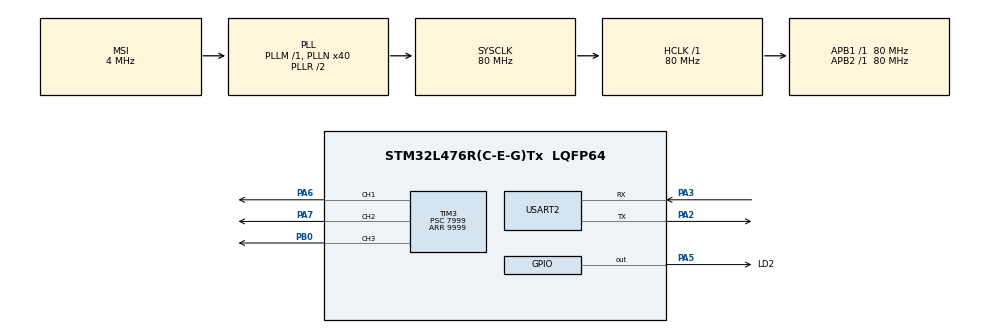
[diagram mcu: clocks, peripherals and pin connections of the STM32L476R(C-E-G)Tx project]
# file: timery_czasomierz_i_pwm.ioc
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Mcu.Family=STM32L4
Mcu.Name=STM32L476R(C-E-G)Tx
Mcu.Package=LQFP64
NVIC.PriorityGroup=NVIC_PRIORITYGROUP_4
NVIC.TIM3_IRQn=true\:0\:0\:false\:false\:true\:true\:true\:true
PA13\ (JTMS-SWDIO).Mode=Serial_Wire
PA13\ (JTMS-SWDIO).Signal=SYS_JTMS-SWDIO
PA14\ (JTCK-SWCLK).Mode=Serial_Wire
PA14\ (JTCK-SWCLK).Signal=SYS_JTCK-SWCLK
PA2.Mode=Asynchronous
PA2.Signal=USART2_TX
PA3.Mode=Asynchronous
PA3.Signal=USART2_RX
PA5.GPIO_Label=LD2
PA5.Signal=GPIO_Output
PA6.Signal=S_TIM3_CH1
PA7.Signal=S_TIM3_CH2
PB0.Signal=S_TIM3_CH3
PB10.Signal=S_TIM2_CH3
ProjectManager.HeapSize=0x200
ProjectManager.StackSize=0x400
ProjectManager.TargetToolchain=STM32CubeIDE
RCC.AHBFreq_Value=80000000
RCC.APB1Freq_Value=80000000
RCC.APB1TimFreq_Value=80000000
RCC.APB2Freq_Value=80000000
RCC.APB2TimFreq_Value=80000000
RCC.CortexFreq_Value=80000000
RCC.HCLKFreq_Value=80000000
RCC.HSE_VALUE=8000000
RCC.HSI_VALUE=16000000
RCC.LSE_VALUE=32768
RCC.MSI_VALUE=4000000
RCC.PLLN=40
RCC.SYSCLKFreq_VALUE=80000000
RCC.SYSCLKSource=RCC_SYSCLKSOURCE_PLLCLK
RCC.VCOOutputFreq_Value=160000000
SH.S_TIM2_CH3.0=TIM2_CH3
SH.S_TIM3_CH1.0=TIM3_CH1,PWM Generation1 CH1
SH.S_TIM3_CH2.0=TIM3_CH2,PWM Generation2 CH2
SH.S_TIM3_CH3.0=TIM3_CH3,PWM Generation3 CH3
TIM3.Channel-PWM\ Generation1\ CH1=TIM_CHANNEL_1
TIM3.Channel-PWM\ Generation2\ CH2=TIM_CHANNEL_2
TIM3.Channel-PWM\ Generation3\ CH3=TIM_CHANNEL_3
TIM3.OCPolarity_1=TIM_OCPOLARITY_LOW
TIM3.OCPolarity_2=TIM_OCPOLARITY_LOW
TIM3.OCPolarity_3=TIM_OCPOLARITY_LOW
TIM3.Period=9999
TIM3.Prescaler=7999
TIM3.Pulse-PWM\ Generation1\ CH1=50
TIM3.Pulse-PWM\ Generation2\ CH2=400
TIM3.Pulse-PWM\ Generation3\ CH3=2000
USART2.VirtualMode-Asynchronous=VM_ASYNC
VP_TIM3_VS_ClockSourceINT.Mode=Internal
board=custom

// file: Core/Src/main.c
/* USER CODE BEGIN Header */
/**
  ******************************************************************************
  * @file           : main.c
  * @brief          : Main program body
  ******************************************************************************
  * @attention
  *
  * Copyright (c) 2024 STMicroelectronics.
  * All rights reserved.
  *
  * This software is licensed under terms that can be found in the LICENSE file
  * in the root directory of this software component.
  * If no LICENSE file comes with this software, it is provided AS-IS.
  *
  ******************************************************************************
  */
/* USER CODE END Header */
#include "main.h"

/* USER CODE BEGIN Includes */

#include "math.h"

/* USER CODE END Includes */

TIM_HandleTypeDef htim3;

UART_HandleTypeDef huart2;

void SystemClock_Config(void);
static void MX_GPIO_Init(void);
static void MX_USART2_UART_Init(void);
static void MX_TIM3_Init(void);

/* USER CODE BEGIN 0 */
void HAL_TIM_PeriodElapsedCallback(TIM_HandleTypeDef *htim)
{
  //ustawienia dla TIM6
	/*
  if (htim == &htim6) {
    HAL_GPIO_TogglePin(LD2_GPIO_Port, LD2_Pin);
  }
  */
	//TIM3
	  if (htim == &htim3) {
	    HAL_GPIO_TogglePin(LD2_GPIO_Port, LD2_Pin);

	    //HAL_GPIO_WritePin(LED1_GPIO_Port, LED1_Pin, GPIO_PIN_SET);
	    //HAL_GPIO_WritePin(LED2_GPIO_Port, LED2_Pin, GPIO_PIN_SET);
	    //HAL_GPIO_WritePin(LED3_GPIO_Port, LED3_Pin, GPIO_PIN_SET);
	  }
}
// TIM3, funkcja resetująca stan diody na podstawie informacji z kanałów licznika
/*
void HAL_TIM_OC_DelayElapsedCallback(TIM_HandleTypeDef *htim)
{
  if (htim == &htim3) {
    switch (HAL_TIM_GetActiveChannel(&htim3)) {
    case HAL_TIM_ACTIVE_CHANNEL_1:
      HAL_GPIO_WritePin(LED1_GPIO_Port, LED1_Pin, GPIO_PIN_RESET);
      break;
    case HAL_TIM_ACTIVE_CHANNEL_2:
      HAL_GPIO_WritePin(LED2_GPIO_Port, LED2_Pin, GPIO_PIN_RESET);
      break;
    case HAL_TIM_ACTIVE_CHANNEL_3:
      HAL_GPIO_WritePin(LED3_GPIO_Port, LED3_Pin, GPIO_PIN_RESET);
      break;
    default:
      break;
    }
  }
}
*/
// oczekiwana jasnośc świecenia diody RGB - funkcja logistyczna
float calc_pwm(float val)
{
    const float k = 0.13f;
    const float x0 = 70.0f;
    return 10000.0f / (1.0f + exp(-k * (val - x0)));
}

/* USER CODE END 0 */

int main(void)
{

  /* MCU Configuration--------------------------------------------------------*/

  /* Reset of all peripherals, Initializes the Flash interface and the Systick. */
  HAL_Init();

  /* Configure the system clock */
  SystemClock_Config();

  /* Initialize all configured peripherals */
  MX_GPIO_Init();
  MX_USART2_UART_Init();
  MX_TIM3_Init();
  /* USER CODE BEGIN 2 */

  //Konfiguracja TIM6 to: preskaler 7999, period 9999 daje to okres T=praeskaler*period/f(80MHz procesora) = 1 sekunda
  // nie można ustawić preskalera od razu na 80 tyś bo TIM6 jest 16 bitowy
  //HAL_TIM_Base_Start_IT(&htim6);

  //TIM3 - takie same ustawienia co wyżej, podstawowa wersja działa jak TIM6
  HAL_TIM_Base_Start_IT(&htim3);
  //dodanie 3 kanałów, period 2500, 5000, 7500
  //udało się uzyskać sygnał PWM: LED1 świeci przez 25% czasu, LED2 przez 50%, a LED3 przez 75%
  /*
   * HAL_TIM_OC_Start_IT(&htim3, TIM_CHANNEL_1);
  HAL_TIM_OC_Start_IT(&htim3, TIM_CHANNEL_2);
  HAL_TIM_OC_Start_IT(&htim3, TIM_CHANNEL_3);
  */
  //przerwania pwm nie będą juz zgłaszane, wykorzystujemy sprzętowy pwm, czyli procesor nie musi obsługiwać aż tylu przerwań jednocześnie
  HAL_TIM_PWM_Start(&htim3, TIM_CHANNEL_1);
  HAL_TIM_PWM_Start(&htim3, TIM_CHANNEL_2);
  HAL_TIM_PWM_Start(&htim3, TIM_CHANNEL_3);

  /* USER CODE END 2 */

  /* Infinite loop */
  /* USER CODE BEGIN WHILE */
  int counter = 0;
  while (1)
  {
	  float r = 50 * (1.0f + sin(counter / 100.0f));
	  float g = 50 * (1.0f + sin(1.5f * counter / 100.0f));
	  float b = 50 * (1.0f + sin(2.0f * counter / 100.0f));
	  __HAL_TIM_SET_COMPARE(&htim3, TIM_CHANNEL_1, calc_pwm(b));
	  __HAL_TIM_SET_COMPARE(&htim3, TIM_CHANNEL_2, calc_pwm(g));
	  __HAL_TIM_SET_COMPARE(&htim3, TIM_CHANNEL_3, calc_pwm(r));

	  HAL_Delay(10);
	  counter++;
    /* USER CODE END WHILE */

  }
}

void SystemClock_Config(void)
{
  RCC_OscInitTypeDef RCC_OscInitStruct = {0};
  RCC_ClkInitTypeDef RCC_ClkInitStruct = {0};

  /** Configure the main internal regulator output voltage
  */
  if (HAL_PWREx_ControlVoltageScaling(PWR_REGULATOR_VOLTAGE_SCALE1) != HAL_OK)
  {
    Error_Handler();
  }

  /** Initializes the RCC Oscillators according to the specified parameters
  * in the RCC_OscInitTypeDef structure.
  */
  RCC_OscInitStruct.OscillatorType = RCC_OSCILLATORTYPE_MSI;
  RCC_OscInitStruct.MSIState = RCC_MSI_ON;
  RCC_OscInitStruct.MSICalibrationValue = 0;
  RCC_OscInitStruct.MSIClockRange = RCC_MSIRANGE_6;
  RCC_OscInitStruct.PLL.PLLState = RCC_PLL_ON;
  RCC_OscInitStruct.PLL.PLLSource = RCC_PLLSOURCE_MSI;
  RCC_OscInitStruct.PLL.PLLM = 1;
  RCC_OscInitStruct.PLL.PLLN = 40;
  RCC_OscInitStruct.PLL.PLLP = RCC_PLLP_DIV7;
  RCC_OscInitStruct.PLL.PLLQ = RCC_PLLQ_DIV2;
  RCC_OscInitStruct.PLL.PLLR = RCC_PLLR_DIV2;
  if (HAL_RCC_OscConfig(&RCC_OscInitStruct) != HAL_OK)
  {
    Error_Handler();
  }

  /** Initializes the CPU, AHB and APB buses clocks
  */
  RCC_ClkInitStruct.ClockType = RCC_CLOCKTYPE_HCLK|RCC_CLOCKTYPE_SYSCLK
                              |RCC_CLOCKTYPE_PCLK1|RCC_CLOCKTYPE_PCLK2;
  RCC_ClkInitStruct.SYSCLKSource = RCC_SYSCLKSOURCE_PLLCLK;
  RCC_ClkInitStruct.AHBCLKDivider = RCC_SYSCLK_DIV1;
  RCC_ClkInitStruct.APB1CLKDivider = RCC_HCLK_DIV1;
  RCC_ClkInitStruct.APB2CLKDivider = RCC_HCLK_DIV1;

  if (HAL_RCC_ClockConfig(&RCC_ClkInitStruct, FLASH_LATENCY_4) != HAL_OK)
  {
    Error_Handler();
  }
}

static void MX_TIM3_Init(void)
{

  TIM_ClockConfigTypeDef sClockSourceConfig = {0};
  TIM_MasterConfigTypeDef sMasterConfig = {0};
  TIM_OC_InitTypeDef sConfigOC = {0};

  htim3.Instance = TIM3;
  htim3.Init.Prescaler = 7999;
  htim3.Init.CounterMode = TIM_COUNTERMODE_UP;
  htim3.Init.Period = 9999;
  htim3.Init.ClockDivision = TIM_CLOCKDIVISION_DIV1;
  htim3.Init.AutoReloadPreload = TIM_AUTORELOAD_PRELOAD_DISABLE;
  if (HAL_TIM_Base_Init(&htim3) != HAL_OK)
  {
    Error_Handler();
  }
  sClockSourceConfig.ClockSource = TIM_CLOCKSOURCE_INTERNAL;
  if (HAL_TIM_ConfigClockSource(&htim3, &sClockSourceConfig) != HAL_OK)
  {
    Error_Handler();
  }
  if (HAL_TIM_PWM_Init(&htim3) != HAL_OK)
  {
    Error_Handler();
  }
  sMasterConfig.MasterOutputTrigger = TIM_TRGO_RESET;
  sMasterConfig.MasterSlaveMode = TIM_MASTERSLAVEMODE_DISABLE;
  if (HAL_TIMEx_MasterConfigSynchronization(&htim3, &sMasterConfig) != HAL_OK)
  {
    Error_Handler();
  }
  sConfigOC.OCMode = TIM_OCMODE_PWM1;
  sConfigOC.Pulse = 50;
  sConfigOC.OCPolarity = TIM_OCPOLARITY_LOW;
  sConfigOC.OCFastMode = TIM_OCFAST_DISABLE;
  if (HAL_TIM_PWM_ConfigChannel(&htim3, &sConfigOC, TIM_CHANNEL_1) != HAL_OK)
  {
    Error_Handler();
  }
  sConfigOC.Pulse = 400;
  if (HAL_TIM_PWM_ConfigChannel(&htim3, &sConfigOC, TIM_CHANNEL_2) != HAL_OK)
  {
    Error_Handler();
  }
  sConfigOC.Pulse = 2000;
  if (HAL_TIM_PWM_ConfigChannel(&htim3, &sConfigOC, TIM_CHANNEL_3) != HAL_OK)
  {
    Error_Handler();
  }
  HAL_TIM_MspPostInit(&htim3);

}

static void MX_USART2_UART_Init(void)
{

  huart2.Instance = USART2;
  huart2.Init.BaudRate = 115200;
  huart2.Init.WordLength = UART_WORDLENGTH_8B;
  huart2.Init.StopBits = UART_STOPBITS_1;
  huart2.Init.Parity = UART_PARITY_NONE;
  huart2.Init.Mode = UART_MODE_TX_RX;
  huart2.Init.HwFlowCtl = UART_HWCONTROL_NONE;
  huart2.Init.OverSampling = UART_OVERSAMPLING_16;
  huart2.Init.OneBitSampling = UART_ONE_BIT_SAMPLE_DISABLE;
  huart2.AdvancedInit.AdvFeatureInit = UART_ADVFEATURE_NO_INIT;
  if (HAL_UART_Init(&huart2) != HAL_OK)
  {
    Error_Handler();
  }

}

static void MX_GPIO_Init(void)
{
  GPIO_InitTypeDef GPIO_InitStruct = {0};

  /* GPIO Ports Clock Enable */
  __HAL_RCC_GPIOA_CLK_ENABLE();
  __HAL_RCC_GPIOB_CLK_ENABLE();

  /*Configure GPIO pin Output Level */
  HAL_GPIO_WritePin(LD2_GPIO_Port, LD2_Pin, GPIO_PIN_RESET);

  /*Configure GPIO pin : LD2_Pin */
  GPIO_InitStruct.Pin = LD2_Pin;
  GPIO_InitStruct.Mode = GPIO_MODE_OUTPUT_PP;
  GPIO_InitStruct.Pull = GPIO_NOPULL;
  GPIO_InitStruct.Speed = GPIO_SPEED_FREQ_LOW;
  HAL_GPIO_Init(LD2_GPIO_Port, &GPIO_InitStruct);

  /*Configure GPIO pin : PB10 */
  GPIO_InitStruct.Pin = GPIO_PIN_10;
  GPIO_InitStruct.Mode = GPIO_MODE_AF_PP;
  GPIO_InitStruct.Pull = GPIO_NOPULL;
  GPIO_InitStruct.Speed = GPIO_SPEED_FREQ_LOW;
  GPIO_InitStruct.Alternate = GPIO_AF1_TIM2;
  HAL_GPIO_Init(GPIOB, &GPIO_InitStruct);

}

void Error_Handler(void)
{
  __disable_irq();
  while (1)
  {
  }
}
